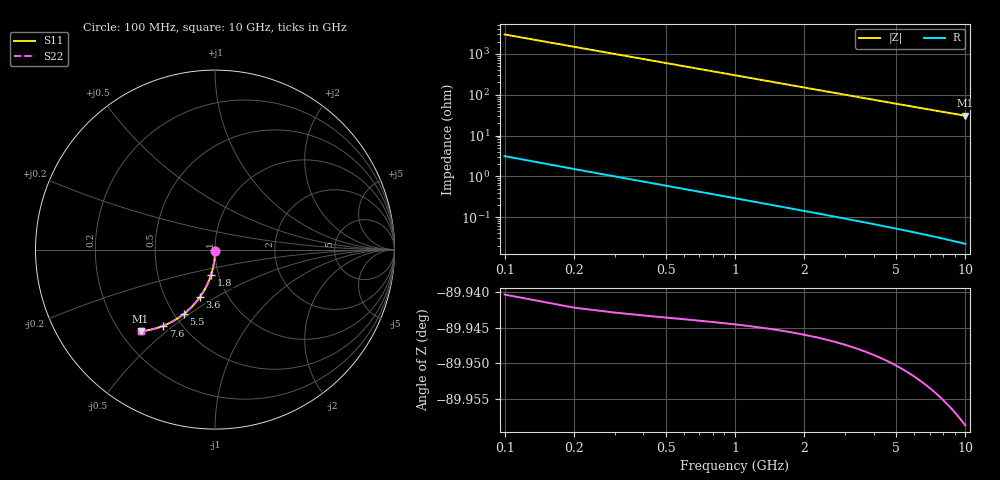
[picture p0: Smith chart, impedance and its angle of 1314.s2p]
# Hz S RI R 50.00
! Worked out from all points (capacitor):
!   100 points, 100 MHz to 10 GHz, reference 50 ohm
!   read as one part in shunt: C = 531 fF near 100 MHz
!   lowest |Z| = 30.5 ohm at 10 GHz (marker M1)
!   S11 on the Smith chart (normalised r, x): 100 MHz: 1.00, -0.02; 1.8 GHz: 0.92, -0.26; 3.6 GHz: 0.74, -0.42; 5.5 GHz: 0.56, -0.48; 7.6 GHz: 0.40, -0.46; 10 GHz: 0.28, -0.41
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1e8  0.000287 -0.00797  0.9996 -0.00871  0.9996 -0.00871  0.000287 -0.00797
2e8  7.28e-05 -0.0159  0.9993 -0.0174  0.9993 -0.0174  7.28e-05 -0.0159
3e8  -0.00028 -0.0239  0.999 -0.0261  0.999 -0.0261  -0.00028 -0.0239
4e8  -0.000772 -0.0318  0.9985 -0.0348  0.9985 -0.0348  -0.000772 -0.0318
5e8  -0.0014 -0.0398  0.9978 -0.0435  0.9978 -0.0435  -0.0014 -0.0398
6e8  -0.00217 -0.0477  0.9971 -0.0522  0.9971 -0.0522  -0.00217 -0.0477
8e8  -0.00411 -0.0634  0.9951 -0.0694  0.9951 -0.0694  -0.00411 -0.0634
1.1e9  -0.00804 -0.0869  0.9912 -0.0951  0.9912 -0.0951  -0.00804 -0.0869
1.4e9  -0.0132 -0.11  0.986 -0.1204  0.986 -0.1204  -0.0132 -0.11
1.8e9  -0.0218 -0.1401  0.9774 -0.1536  0.9774 -0.1536  -0.0218 -0.1401
2.1e9  -0.0295 -0.1621  0.9696 -0.1778  0.9696 -0.1778  -0.0295 -0.1621
2.5e9  -0.0414 -0.1906  0.9576 -0.2093  0.9576 -0.2093  -0.0414 -0.1906
2.9e9  -0.0551 -0.2178  0.9439 -0.2395  0.9439 -0.2395  -0.0551 -0.2178
3.4e9  -0.0743 -0.25  0.9246 -0.2754  0.9246 -0.2754  -0.0743 -0.25
3.6e9  -0.0826 -0.2622  0.9162 -0.2892  0.9162 -0.2892  -0.0826 -0.2622
4.3e9  -0.1141 -0.3021  0.8846 -0.3343  0.8846 -0.3343  -0.1141 -0.3021
5.1e9  -0.1537 -0.3417  0.8448 -0.38  0.8448 -0.38  -0.1537 -0.3417
5.5e9  -0.1745 -0.3591  0.8238 -0.4004  0.8238 -0.4004  -0.1745 -0.3591
6.7e9  -0.2394 -0.4016  0.7585 -0.452  0.7585 -0.452  -0.2394 -0.4016
7.6e9  -0.2888 -0.4246  0.7087 -0.4819  0.7087 -0.4819  -0.2888 -0.4246
8.4e9  -0.3322 -0.4393  0.6649 -0.5026  0.6649 -0.5026  -0.3322 -0.4393
1e10  -0.4149 -0.4546  0.5813 -0.5303  0.5813 -0.5303  -0.4149 -0.4546
